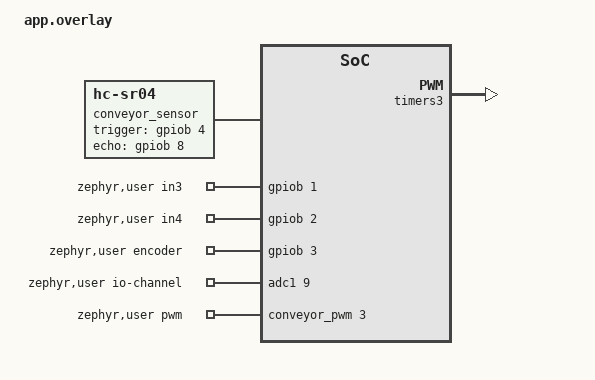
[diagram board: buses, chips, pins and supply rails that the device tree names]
#include <zephyr/dt-bindings/gpio/gpio.h>
#include <zephyr/dt-bindings/pwm/pwm.h>

/ {
	chosen {
		zephyr,console = &lpuart1;
	};

	conveyor_sensor: conveyor-sensor {
		compatible = "hc-sr04";
		trigger-gpios = <&gpiob 4 GPIO_ACTIVE_HIGH>;
		echo-gpios = <&gpiob 8 GPIO_ACTIVE_HIGH>;
	};

	zephyr,user {
		pwms = <&conveyor_pwm 3 PWM_HZ(1000) PWM_POLARITY_NORMAL>;
		io-channels = <&adc1 9>;
		in3-gpios = <&gpiob 1 GPIO_ACTIVE_HIGH>;
		in4-gpios = <&gpiob 2 GPIO_ACTIVE_HIGH>;
		encoder-gpios = <&gpiob 3 GPIO_ACTIVE_HIGH>;
	};
};

&timers3 {
	st,prescaler = <159>;
	status = "okay";

	conveyor_pwm: pwm {
		pinctrl-0 = <&tim3_ch3_pb0>;
		pinctrl-names = "default";
		status = "okay";
	};
};
